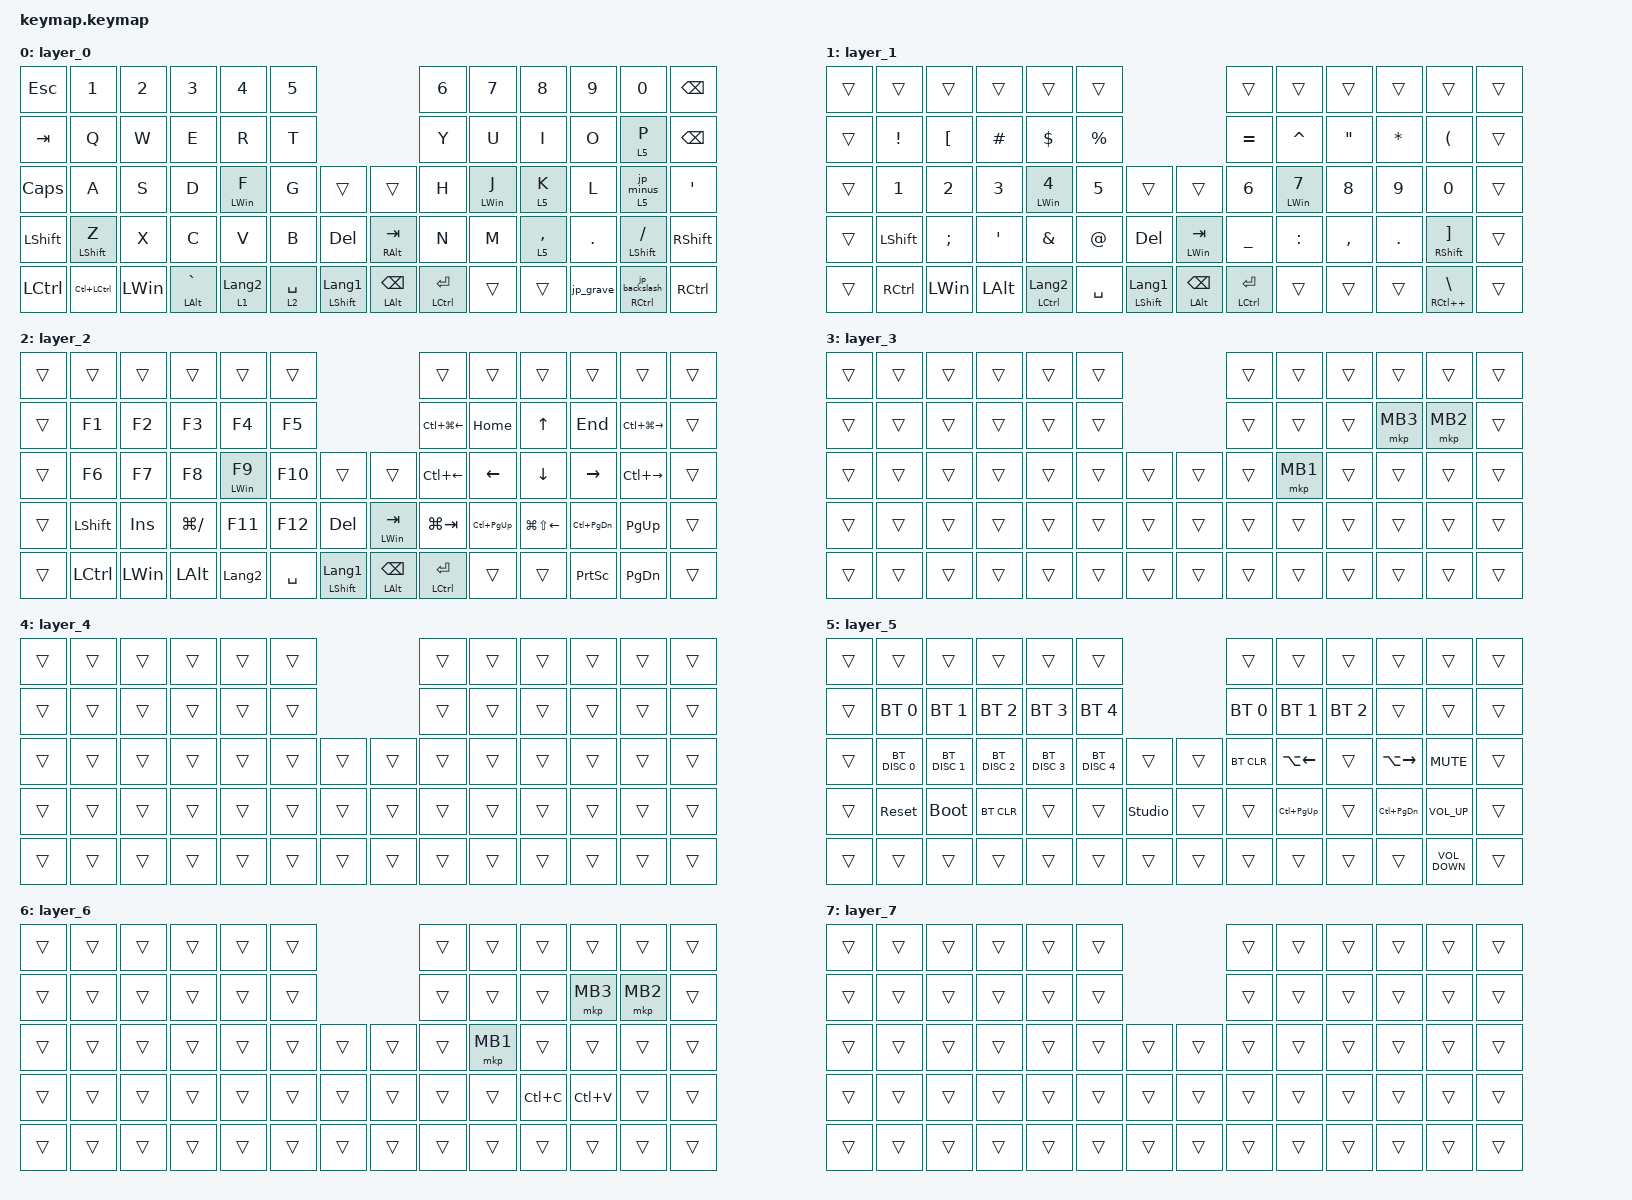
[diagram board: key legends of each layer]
/* ===== スクロール基本速度（変更可能） ===== */

#undef ZMK_POINTING_DEFAULT_SCRL_VAL

#define ZMK_POINTING_DEFAULT_SCRL_VAL 1

#include <input/processors.dtsi>
#include <behaviors.dtsi>
#include <dt-bindings/zmk/bt.h>
#include <dt-bindings/zmk/keys.h>
#include <dt-bindings/zmk/pointing.h>

#define JP_DQUOTE       AT                // "
#define JP_AMPERSAND    CARET             // &
#define JP_QUOTE        AMPERSAND         // '
#define JP_EQUAL        UNDER             // =
#define JP_CARET        EQUAL             // ^
#define JP_YEN          0x89              // ¥
#define JP_PLUS         COLON             // +
#define JP_TILDE        PLUS              // ~
#define JP_PIPE         LS(0x89)          // |
#define JP_AT           LEFT_BRACKET      // @
#define JP_COLON        SINGLE_QUOTE      // :
#define JP_ASTERISK     DOUBLE_QUOTES     // *
#define JP_BACKQUOTE    LEFT_BRACE        // `
#define JP_UNDERSCORE   LS(0x87)          // _
#define JP_LBRACKET     RIGHT_BRACKET     // [
#define JP_RBRACKET     BACKSLASH         // ]
#define JP_LPAREN       ASTERISK          // (
#define JP_RPAREN       LEFT_PARENTHESIS  // )
#define JP_LBRACE       RIGHT_BRACE       // {
#define JP_RBRACE       PIPE              // }
#define JP_KANA         LANGUAGE_1        // かな
#define JP_EISU         LANGUAGE_2        // 英数
#define JP_HANZEN       GRAVE             // 半角/全角
#define JP_BSLH  INT1         // (backslash)

/ {
    combos {
        compatible = "zmk,combos";

        tap_mb4 {
            bindings = <&kp LANGUAGE_1>;
            key-positions = <33 34>;
        };

        tap_mb5 {
            bindings = <&kp LANGUAGE_2>;
            key-positions = <27 28>;
        };

        kp_esc {
            bindings = <&kp ESCAPE>;
            key-positions = <13 14>;
        };

        tap_caps {
            bindings = <&kp LS(CAPSLOCK)>;
            key-positions = <39 40>;
            layers = <1>;
        };

        tap_kakko {
            bindings = <&kp RIGHT_BRACKET>;
            key-positions = <21 20>;
            layers = <1>;
        };

        tap_kakkotoji {
            bindings = <&kp BACKSLASH>;
            key-positions = <22 21>;
            layers = <1>;
        };

        tap_ins {
            bindings = <&kp INS>;
            key-positions = <40 41>;
        };

        kp_bs {
            bindings = <&kp BACKSPACE>;
            key-positions = <21 22>;
        };

        kp_enter {
            bindings = <&kp ENTER>;
            key-positions = <36 35>;
        };
    };

    macros {
        exit_AML: exit_AML {
            compatible = "zmk,behavior-macro";
            wait-ms = <0>;
            tap-ms = <0>;
            #binding-cells = <0>;
            bindings = <&tog_off 6>;
            label = "exit_AML";
        };

        kp_exit_AML: kp_exit_AML {
            compatible = "zmk,behavior-macro-one-param";
            wait-ms = <0>;
            tap-ms = <0>;
            #binding-cells = <1>;
            bindings = <&macro_param_1to1 &kp MACRO_PLACEHOLDER &exit_AML>;
            label = "KP_exit_AML";
        };
    };

    behaviors {
        // Convert US keycap symbols to the corresponding JIS keystrokes.
        jp_minus: jp_minus {
            compatible = "zmk,behavior-mod-morph";
            #binding-cells = <0>;
            mods = <(MOD_LSFT | MOD_RSFT)>;
            bindings = <&kp MINUS>, <&kp JP_UNDERSCORE>;
        };

        jp_grave: jp_grave {
            compatible = "zmk,behavior-mod-morph";
            #binding-cells = <0>;
            mods = <(MOD_LSFT | MOD_RSFT)>;
            bindings = <&kp JP_BACKQUOTE>, <&kp JP_TILDE>;
        };

        jp_backslash: jp_backslash {
            compatible = "zmk,behavior-mod-morph";
            #binding-cells = <0>;
            mods = <(MOD_LSFT | MOD_RSFT)>;
            bindings = <&kp JP_BSLH>, <&kp JP_PIPE>;
        };

        jp_minus_lt: jp_minus_lt {
            compatible = "zmk,behavior-hold-tap";
            #binding-cells = <2>;
            flavor = "tap-preferred";
            tapping-term-ms = <200>;
            bindings = <&mo>, <&jp_minus>;
        };

        jp_backslash_mt: jp_backslash_mt {
            compatible = "zmk,behavior-hold-tap";
            #binding-cells = <2>;
            flavor = "balanced";
            tapping-term-ms = <200>;
            bindings = <&kp>, <&jp_backslash>;
        };

        trackpad_lt: trackpad_layer_tap {
            compatible = "zmk,behavior-hold-tap";
            #binding-cells = <2>;
            flavor = "tap-preferred";
            tapping-term-ms = <200>;
            hold-while-undecided;
            bindings = <&mo>, <&kp>;
            display-name = "Trackpad Layer-Tap";
        };

        mt: mod_tap {
            compatible = "zmk,behavior-hold-tap";
            #binding-cells = <2>;
            flavor = "balanced";
            tapping-term-ms = <200>;
            bindings = <&kp>, <&kp>;

            display-name = "Mod-Tap";
        };

        tog_off: toggle_layer_off {
            compatible = "zmk,behavior-toggle-layer";
            #binding-cells = <1>;
            display-name = "Toggle Layer Off";
            toggle-mode = "off";
        };
    };

    keymap {
        compatible = "zmk,keymap";

        layer_0 {
            bindings = <
&kp ESC    &kp N1                &kp N2        &kp N3              &kp N4            &kp N5                                                            &kp N6                  &kp N7  &kp N8       &kp N9      &kp N0                  &kp BSPC
&kp TAB    &kp Q                 &kp W         &kp E               &kp R             &kp T                                                             &kp Y                   &kp U   &kp I        &kp O       &lt 5 P                 &kp BSPC
&kp CAPS   &kp A                 &kp S         &kp D               &mt LEFT_WIN F    &kp G        &trans                       &trans                  &kp H                   &mt LEFT_WIN J   &lt 5 K        &kp L       &jp_minus_lt 5 0             &kp SQT
&kp LSHFT  &mt LEFT_SHIFT Z      &kp X         &kp C               &kp V             &kp B        &kp DELETE                   &mt RIGHT_ALT TAB       &kp N                   &kp M   &lt 5 COMMA  &kp DOT     &mt LEFT_SHIFT SLASH    &kp RSHFT
&kp LCTRL  &kp LC(LEFT_CONTROL)  &kp LEFT_WIN  &mt LEFT_ALT GRAVE  &trackpad_lt 1 LANGUAGE_2  &trackpad_lt 2 SPACE  &mt LEFT_SHIFT LANGUAGE_1  &mt LEFT_ALT BACKSPACE  &mt LEFT_CONTROL ENTER  &trans  &trans       &jp_grave   &jp_backslash_mt RIGHT_CONTROL 0  &kp RCTRL
            >;
        };

        layer_1 {
            bindings = <
&trans  &trans               &trans            &trans         &trans                       &trans                                                                  &trans                  &trans        &trans             &trans        &trans                      &trans
&trans  &kp EXCLAMATION      &kp LEFT_BRACKET  &kp HASH       &kp DOLLAR                   &kp PERCENT                                                             &kp EQUAL               &kp CARET     &kp DOUBLE_QUOTES  &kp ASTERISK  &kp LEFT_PARENTHESIS        &trans
&trans  &kp NUMBER_1         &kp NUMBER_2      &kp NUMBER_3   &mt LEFT_WIN NUMBER_4        &kp NUMBER_5       &trans                       &trans                  &kp NUMBER_6            &mt LEFT_WIN NUMBER_7  &kp NUMBER_8       &kp NUMBER_9  &kp NUMBER_0                &trans
&trans  &kp LEFT_SHIFT       &kp SEMI          &kp JP_COLON    &kp JP_QUOTE                &kp JP_DQUOTE      &kp DELETE                  &mt LEFT_WIN TAB        &kp UNDER               &kp COLON     &kp COMMA          &kp PERIOD    &mt RIGHT_SHIFT JP_LBRACKET  &trans
&trans  &kp RIGHT_CONTROL    &kp LEFT_WIN      &kp LEFT_ALT   &mt LEFT_CONTROL LANGUAGE_2  &kp SPACE          &mt LEFT_SHIFT LANGUAGE_1  &mt LEFT_ALT BACKSPACE  &mt LEFT_CONTROL ENTER  &trans        &trans             &trans        &mt RC(PLUS) JP_RBRACKET           &trans
            >;
        };

        layer_2 {
            bindings = <
&trans  &trans            &trans        &trans         &trans           &trans                                             &trans                  &trans           &trans                  &trans             &trans                   &trans
&trans  &kp F1            &kp F2        &kp F3         &kp F4           &kp F5                                             &kp LC(LG(LEFT_ARROW))  &kp HOME         &kp UP_ARROW            &kp END            &kp LC(LG(RIGHT_ARROW))  &trans
&trans  &kp F6            &kp F7        &kp F8         &mt LEFT_WIN F9  &kp F10    &trans          &trans                  &kp LC(LEFT_ARROW)      &kp LEFT_ARROW            &kp DOWN                &kp RIGHT          &kp LC(RIGHT)            &trans
&trans  &kp LEFT_SHIFT    &kp INS       &kp LG(SLASH)  &kp F11          &kp F12    &kp DELETE      &mt LEFT_WIN TAB        &kp LG(TAB)             &kp LC(PAGE_UP)  &kp LG(LS(LEFT_ARROW))  &kp LC(PAGE_DOWN)  &kp PAGE_UP              &trans
&trans  &kp LEFT_CONTROL  &kp LEFT_WIN  &kp LEFT_ALT   &kp LANGUAGE_2   &kp SPACE  &mt LEFT_SHIFT LANGUAGE_1  &mt LEFT_ALT BACKSPACE  &mt LEFT_CONTROL ENTER  &trans           &trans                  &kp PRINTSCREEN    &kp PAGE_DOWN            &trans
            >;
        };

        layer_3 {
            bindings = <
&trans  &trans  &trans  &trans  &trans  &trans                  &trans  &trans    &trans    &trans    &trans  &trans
&trans  &trans  &trans  &trans  &trans  &trans                  &trans  &trans    &trans    &mkp MB3    &mkp MB2  &trans
&trans  &trans  &trans  &trans  &trans  &trans  &trans  &trans  &trans  &mkp MB1  &trans    &trans    &trans  &trans
&trans  &trans  &trans  &trans  &trans  &trans  &trans  &trans  &trans  &trans    &trans    &trans    &trans  &trans
&trans  &trans  &trans  &trans  &trans  &trans  &trans  &trans  &trans  &trans    &trans    &trans    &trans  &trans
            >;
        };

        layer_4 {
            bindings = <
&trans  &trans  &trans  &trans  &trans  &trans                  &trans  &trans  &trans  &trans  &trans  &trans
&trans  &trans  &trans  &trans  &trans  &trans                  &trans  &trans  &trans  &trans  &trans  &trans
&trans  &trans  &trans  &trans  &trans  &trans  &trans  &trans  &trans  &trans  &trans  &trans  &trans  &trans
&trans  &trans  &trans  &trans  &trans  &trans  &trans  &trans  &trans  &trans  &trans  &trans  &trans  &trans
&trans  &trans  &trans  &trans  &trans  &trans  &trans  &trans  &trans  &trans  &trans  &trans  &trans  &trans
            >;
        };

        layer_5 {
            bindings = <
&trans  &trans         &trans         &trans         &trans         &trans                                 &trans        &trans           &trans        &trans             &trans             &trans
&trans  &bt BT_SEL 0   &bt BT_SEL 1   &bt BT_SEL 2   &bt BT_SEL 3   &bt BT_SEL 4                           &bt BT_SEL 0  &bt BT_SEL 1     &bt BT_SEL 2  &trans             &trans             &trans
&trans  &bt BT_DISC 0  &bt BT_DISC 1  &bt BT_DISC 2  &bt BT_DISC 3  &bt BT_DISC 4  &trans          &trans  &bt BT_CLR    &kp LA(LEFT_ARROW)        &trans        &kp LA(RIGHT_ARROW)          &kp C_MUTE         &trans
&trans  &sys_reset     &bootloader    &bt BT_CLR     &trans         &trans         &studio_unlock  &trans  &trans        &kp LC(PAGE_UP)  &trans        &kp LC(PAGE_DOWN)  &kp C_VOLUME_UP    &trans
&trans  &trans         &trans         &trans         &trans         &trans         &trans          &trans  &trans        &trans           &trans        &trans             &kp C_VOLUME_DOWN  &trans
            >;
        };

        layer_6 {
            bindings = <
&trans  &trans  &trans  &trans  &trans  &trans                  &trans  &trans    &trans     &trans     &trans  &trans
&trans  &trans  &trans  &trans  &trans  &trans                  &trans  &trans    &trans    &mkp MB3  &mkp MB2  &trans
&trans  &trans  &trans  &trans  &trans  &trans  &trans  &trans  &trans  &mkp MB1  &trans    &trans              &trans               &trans
&trans  &trans  &trans  &trans  &trans  &trans  &trans  &trans  &trans  &trans    &kp LC(C)  &kp LC(V)  &trans  &trans
&trans  &trans  &trans  &trans  &trans  &trans  &trans  &trans  &trans  &trans    &trans     &trans    &trans    &trans
            >;
        };

        layer_7 {
            bindings = <
&trans  &trans  &trans  &trans  &trans  &trans                  &trans  &trans  &trans  &trans  &trans  &trans
&trans  &trans  &trans  &trans  &trans  &trans                  &trans  &trans  &trans  &trans  &trans  &trans
&trans  &trans  &trans  &trans  &trans  &trans  &trans  &trans  &trans  &trans  &trans  &trans  &trans  &trans
&trans  &trans  &trans  &trans  &trans  &trans  &trans  &trans  &trans  &trans  &trans  &trans  &trans  &trans
&trans  &trans  &trans  &trans  &trans  &trans  &trans  &trans  &trans  &trans  &trans  &trans  &trans  &trans
            >;
        };
    };
};
